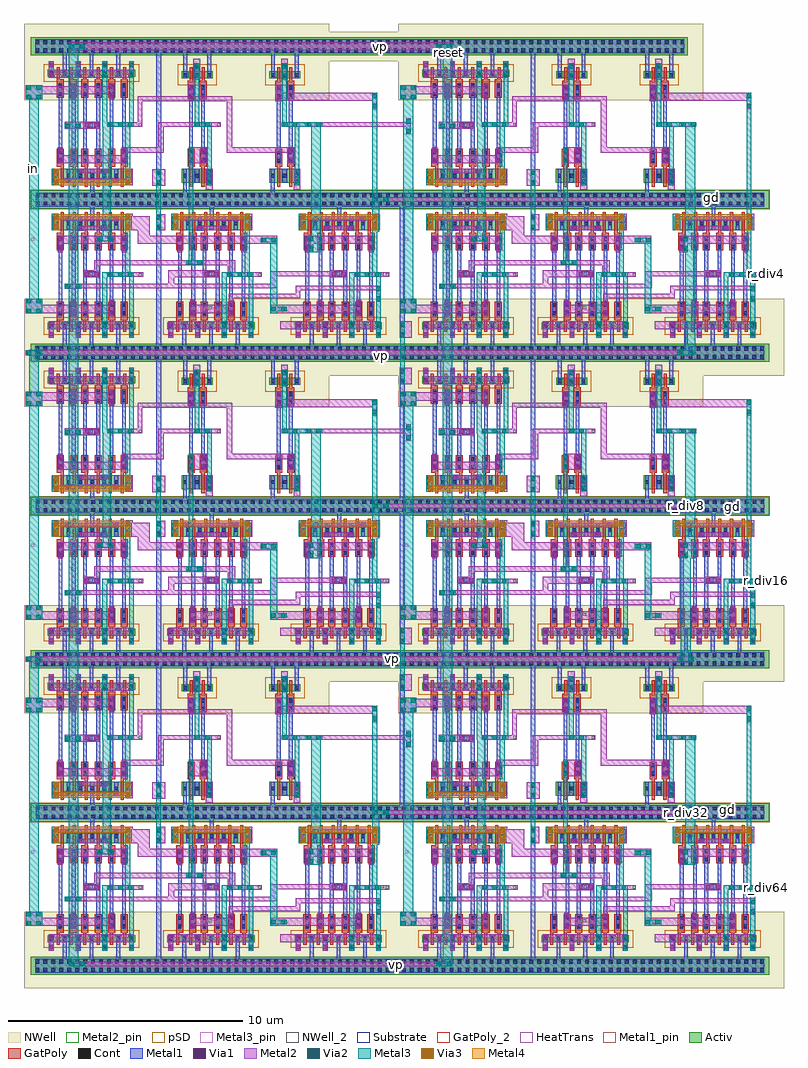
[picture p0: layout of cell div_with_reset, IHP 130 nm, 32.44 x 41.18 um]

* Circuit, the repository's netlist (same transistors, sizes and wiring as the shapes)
** sch_path: /foss/designs/CHIP-PLL/schematics/divider/schematics/div_with_reset.sch
.subckt div_with_reset gd vp in reset r_div2 r_div4 r_div8 r_div16 r_div32 r_div64
*.PININFO gd:B in:I vp:B r_div2:O r_div4:O r_div8:O r_div16:O r_div32:O r_div64:O reset:I
x1 net1 vp gd r_div4 net2 r_div4 reset d_flip_flop_reset
x2 net2 vp gd r_div2 in r_div2 reset d_flip_flop_reset
x3 net6 vp gd r_div64 net5 r_div64 reset d_flip_flop_reset
x4 net5 vp gd r_div32 net4 r_div32 reset d_flip_flop_reset
x5 net4 vp gd r_div16 net3 r_div16 reset d_flip_flop_reset
x6 net3 vp gd r_div8 net1 r_div8 reset d_flip_flop_reset
* noconn #net6
.ends

* expanding   symbol:  /foss/designs/CHIP-PLL/schematics/divider/schematics/d_flip_flop_reset.sym # of pins=7
** sym_path: /foss/designs/CHIP-PLL/schematics/divider/schematics/d_flip_flop_reset.sym
** sch_path: /foss/designs/CHIP-PLL/schematics/divider/schematics/d_flip_flop_reset.sch
.subckt d_flip_flop_reset q VP GND q_ clk d reset
*.PININFO GND:B clk:I VP:B d:I q:O q_:O reset:I
x2 VP GND q q_ net3 reset NAND_3in_x3
x5 VP GND net3 net4 d reset NAND_3in_x3
x6 VP GND net2 net1 clk reset NAND_3in_x3
x4 VP GND net1 q q_ NAND_2in_x2
x3 VP GND net4 net2 net1 NAND_2in_x2
x1 VP GND net1 net3 clk net4 NAND_3in_x3
.ends


* expanding   symbol:  /foss/designs/CHIP-PLL/schematics/divider/schematics/NAND_3in_x3.sym # of pins=6
** sym_path: /foss/designs/CHIP-PLL/schematics/divider/schematics/NAND_3in_x3.sym
** sch_path: /foss/designs/CHIP-PLL/schematics/divider/schematics/NAND_3in_x3.sch
.subckt NAND_3in_x3 VP GND a y b c
*.PININFO y:O GND:B a:I VP:B b:I c:I
MM1 y a net2 GND sg13_lv_nmos w=1.20u l=0.13u ng=1
MM5 y b VP VP sg13_lv_pmos w=0.3u l=0.13u ng=1
MM3 net2 b net1 GND sg13_lv_nmos w=1.20u l=0.13u ng=1
MM4 net1 c GND GND sg13_lv_nmos w=1.20u l=0.13u ng=1
MM2 y a VP VP sg13_lv_pmos w=0.3u l=0.13u ng=1
MM6 y c VP VP sg13_lv_pmos w=0.3u l=0.13u ng=1
.ends


* expanding   symbol:  /foss/designs/CHIP-PLL/schematics/divider/schematics/NAND_2in_x2.sym # of pins=5
** sym_path: /foss/designs/CHIP-PLL/schematics/divider/schematics/NAND_2in_x2.sym
** sch_path: /foss/designs/CHIP-PLL/schematics/divider/schematics/NAND_2in_x2.sch
.subckt NAND_2in_x2 VP GND a y b
*.PININFO y:O GND:B a:I VP:B b:I
MM1 y a net1 GND sg13_lv_nmos w=0.6u l=0.13u ng=1
MM2 y b VP VP sg13_lv_pmos w=0.3u l=0.13u ng=1
MM3 net1 b GND GND sg13_lv_nmos w=0.6u l=0.13u ng=1
MM4 y a VP VP sg13_lv_pmos w=0.3u l=0.13u ng=1
.ends

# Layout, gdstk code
from math import pi, radians
import gdstk
lib = gdstk.Library(unit=1e-6, precision=1e-09)
def R(c, l, rs):  # rectangles x0, y0, x1, y1
    for r in rs: c.add(gdstk.rectangle(r[:2], r[2:], *l))
def A(c, l, x, y, w, h, nx, ny, dx, dy):  # array of equal rectangles
    R(c, l, [(x+i*dx, y+j*dy, x+i*dx+w, y+j*dy+h) for i in range(nx) for j in range(ny)])
Activ = (1, 0)
GatPoly = (5, 0)
GatPoly_2 = (5, 2)
Cont = (6, 0)
Metal1 = (8, 0)
Metal1_pin = (8, 2)
Metal2 = (10, 0)
Metal2_pin = (10, 2)
pSD = (14, 0)
Via1 = (19, 0)
Via2 = (29, 0)
Metal3 = (30, 0)
Metal3_pin = (30, 2)
NWell = (31, 0)
NWell_2 = (31, 2)
Substrate = (40, 0)
Via3 = (49, 0)
Metal4 = (50, 0)
HeatTrans = (51, 0)

ntap1 = lib.new_cell('ntap1')
R(ntap1, Activ, [(0,0,7.8,0.78)])
A(ntap1, Cont, 0.08, 0.14, 0.16, 0.16, 23, 2, 0.34, 0.34)
R(ntap1, Metal1, [(0.08,0.09,7.72,0.69)])
R(ntap1, Metal1_pin, [(0.08,0.09,7.72,0.69), (0.08,0.14,7.72,0.64)])
R(ntap1, NWell, [(-0.24,-0.24,8.04,1.02), (0,0,7.8,0.78)])
R(ntap1, NWell_2, [(0,0,7.8,0.78)])
ntap1.add(gdstk.Label('well', (3.9,0.01), layer=63, texttype=0))
ntap1.add(gdstk.Label('well', (3.9,0.01), layer=31, texttype=0))

ptap1 = lib.new_cell('ptap1')
R(ptap1, Activ, [(0,0,7.8,0.78)])
A(ptap1, Cont, 0.08, 0.14, 0.16, 0.16, 23, 2, 0.34, 0.34)
R(ptap1, Metal1, [(0.08,0.09,7.72,0.69), (0.08,0.14,7.72,0.64)])
R(ptap1, Metal1_pin, [(0.08,0.14,7.72,0.64)])
R(ptap1, pSD, [(-0.03,-0.03,7.83,0.81)])
R(ptap1, Substrate, [(0,0,7.8,0.78)])
ptap1.add(gdstk.Label('sub!', (3.9,0.01), layer=63, texttype=0))
ptap1.add(gdstk.Label('sub!', (3.9,0.01), layer=40, texttype=0))

ptap1_7 = lib.new_cell('ptap1$7')
R(ptap1_7, Activ, [(0,0,1.7,0.78)])
A(ptap1_7, Cont, 0.09, 0.14, 0.16, 0.16, 5, 2, 0.34, 0.34)
R(ptap1_7, Metal1, [(0.09,0.09,1.61,0.69), (0.09,0.14,1.61,0.64)])
R(ptap1_7, Metal1_pin, [(0.09,0.14,1.61,0.64)])
R(ptap1_7, pSD, [(-0.03,-0.03,1.73,0.81)])
R(ptap1_7, Substrate, [(0,0,1.7,0.78)])
ptap1_7.add(gdstk.Label('sub!', (0.85,0.01), layer=63, texttype=0))
ptap1_7.add(gdstk.Label('sub!', (0.85,0.01), layer=40, texttype=0))

ntap1_2_2 = lib.new_cell('ntap1$2$2')
R(ntap1_2_2, Activ, [(0,0,1.7,0.78)])
A(ntap1_2_2, Cont, 0.09, 0.14, 0.16, 0.16, 5, 2, 0.34, 0.34)
R(ntap1_2_2, Metal1, [(0.09,0.09,1.61,0.69)])
R(ntap1_2_2, Metal1_pin, [(0.09,0.09,1.61,0.69), (0.09,0.14,1.61,0.64)])
R(ntap1_2_2, NWell, [(-0.24,-0.24,1.94,1.02), (0,0,1.7,0.78)])
R(ntap1_2_2, NWell_2, [(0,0,1.7,0.78)])
ntap1_2_2.add(gdstk.Label('well', (0.85,0.01), layer=63, texttype=0))
ntap1_2_2.add(gdstk.Label('well', (0.85,0.01), layer=31, texttype=0))

ntap1_10 = lib.new_cell('ntap1$10')
R(ntap1_10, Activ, [(0,0,2.4,0.78)])
A(ntap1_10, Cont, 0.1, 0.14, 0.16, 0.16, 7, 2, 0.34, 0.34)
R(ntap1_10, Metal1, [(0.1,0.09,2.3,0.69)])
R(ntap1_10, Metal1_pin, [(0.1,0.09,2.3,0.69), (0.1,0.14,2.3,0.64)])
R(ntap1_10, NWell, [(-0.24,-0.24,2.64,1.02), (0,0,2.4,0.78)])
R(ntap1_10, NWell_2, [(0,0,2.4,0.78)])
ntap1_10.add(gdstk.Label('well', (1.2,0.01), layer=63, texttype=0))
ntap1_10.add(gdstk.Label('well', (1.2,0.01), layer=31, texttype=0))

ntap1_4_2 = lib.new_cell('ntap1$4$2')
R(ntap1_4_2, Activ, [(0,0,2.2,0.78)])
A(ntap1_4_2, Cont, 0.17, 0.14, 0.16, 0.16, 6, 2, 0.34, 0.34)
R(ntap1_4_2, Metal1, [(0.17,0.09,2.03,0.69)])
R(ntap1_4_2, Metal1_pin, [(0.17,0.09,2.03,0.69), (0.17,0.14,2.03,0.64)])
R(ntap1_4_2, NWell, [(-0.24,-0.24,2.44,1.02), (0,0,2.2,0.78)])
R(ntap1_4_2, NWell_2, [(0,0,2.2,0.78)])
ntap1_4_2.add(gdstk.Label('well', (1.1,0.01), layer=63, texttype=0))
ntap1_4_2.add(gdstk.Label('well', (1.1,0.01), layer=31, texttype=0))

via_13 = lib.new_cell('Via$13')
R(via_13, Metal2, [(-0.35,-0.1,0.35,0.1)])
R(via_13, Via2, [(-0.3,-0.095,-0.11,0.095), (0.11,-0.095,0.3,0.095)])
R(via_13, Metal3, [(-0.35,-0.1,0.35,0.1)])

via_1_7 = lib.new_cell('Via$1$7')
R(via_1_7, Metal2, [(-0.35,-0.305,0.35,0.305)])
R(via_1_7, Via2, [(-0.3,-0.3,-0.11,-0.11), (0.11,-0.3,0.3,-0.11), (-0.3,0.11,-0.11,0.3), (0.11,0.11,0.3,0.3)])
R(via_1_7, Metal3, [(-0.35,-0.305,0.35,0.305)])

via_9_2 = lib.new_cell('Via$9$2')
R(via_9_2, Metal2, [(-0.1,-0.35,0.1,0.35)])
R(via_9_2, Via2, [(-0.095,-0.3,0.095,-0.11), (-0.095,0.11,0.095,0.3)])
R(via_9_2, Metal3, [(-0.1,-0.35,0.1,0.35)])

via_6_2 = lib.new_cell('Via$6$2')
R(via_6_2, Metal1, [(-0.105,-0.35,0.105,0.35)])
R(via_6_2, Metal2, [(-0.1,-0.35,0.1,0.35)])
R(via_6_2, Via1, [(-0.095,-0.3,0.095,-0.11), (-0.095,0.11,0.095,0.3)])

via_1_4_2 = lib.new_cell('Via$1$4$2')
R(via_1_4_2, Metal2, [(-0.1,-0.555,0.1,0.555)])
A(via_1_4_2, Via2, -0.095, -0.505, 0.19, 0.19, 1, 3, 0, 0.41)
R(via_1_4_2, Metal3, [(-0.1,-0.555,0.1,0.555)])

nmos_2_2 = lib.new_cell('nmos$2$2')
A(nmos_2_2, Activ, 0, 0, 0.3, 0.3, 7, 1, 0.51, 0)
R(nmos_2_2, Activ, [(0,0,3.36,0.6)])
A(nmos_2_2, GatPoly, 0.34, -0.18, 0.13, 0.96, 6, 1, 0.51, 0)
R(nmos_2_2, GatPoly_2, [(0.34,-0.18,0.47,0.78)])
A(nmos_2_2, Cont, 0.07, 0.22, 0.16, 0.16, 7, 1, 0.51, 0)
A(nmos_2_2, Metal1, 0.07, 0, 0.16, 0.6, 7, 1, 0.51, 0)
R(nmos_2_2, Metal1_pin, [(0.07,0,0.23,0.6), (0.58,0,0.74,0.6)])
A(nmos_2_2, HeatTrans, 0.34, -0.18, 0.13, 0.96, 6, 1, 0.51, 0)
nmos_2_2.add(gdstk.Label('nmos', (0.405,0.3), layer=63, texttype=0))
nmos_2_2.add(gdstk.Label('nmos', (0.405,0.3), layer=51, texttype=0))
nmos_2_2.add(gdstk.Label('nmos', (0.915,0.3), layer=51, texttype=0))
nmos_2_2.add(gdstk.Label('nmos', (1.425,0.3), layer=51, texttype=0))
nmos_2_2.add(gdstk.Label('nmos', (1.935,0.3), layer=51, texttype=0))
nmos_2_2.add(gdstk.Label('nmos', (2.445,0.3), layer=51, texttype=0))
nmos_2_2.add(gdstk.Label('nmos', (2.955,0.3), layer=51, texttype=0))

ntap1_6_2 = lib.new_cell('ntap1$6$2')
R(ntap1_6_2, Activ, [(0,0,5,0.78)])
A(ntap1_6_2, Cont, 0.21, 0.14, 0.16, 0.16, 14, 2, 0.34, 0.34)
R(ntap1_6_2, Metal1, [(0.21,0.09,4.79,0.69)])
R(ntap1_6_2, Metal1_pin, [(0.21,0.09,4.79,0.69), (0.21,0.14,4.79,0.64)])
R(ntap1_6_2, NWell, [(-0.24,-0.24,5.24,1.02), (0,0,5,0.78)])
R(ntap1_6_2, NWell_2, [(0,0,5,0.78)])
ntap1_6_2.add(gdstk.Label('well', (2.5,0.01), layer=63, texttype=0))
ntap1_6_2.add(gdstk.Label('well', (2.5,0.01), layer=31, texttype=0))

ptap1_2_2 = lib.new_cell('ptap1$2$2')
R(ptap1_2_2, Activ, [(0,0,5,0.78)])
A(ptap1_2_2, Cont, 0.21, 0.14, 0.16, 0.16, 14, 2, 0.34, 0.34)
R(ptap1_2_2, Metal1, [(0.21,0.09,4.79,0.69), (0.21,0.14,4.79,0.64)])
R(ptap1_2_2, Metal1_pin, [(0.21,0.14,4.79,0.64)])
R(ptap1_2_2, pSD, [(-0.03,-0.03,5.03,0.81)])
R(ptap1_2_2, Substrate, [(0,0,5,0.78)])
ptap1_2_2.add(gdstk.Label('sub!', (2.5,0.01), layer=63, texttype=0))
ptap1_2_2.add(gdstk.Label('sub!', (2.5,0.01), layer=40, texttype=0))

via_4_1_2 = lib.new_cell('Via$4$1$2')
R(via_4_1_2, Metal3, [(-0.1,-0.35,0.1,0.35)])
R(via_4_1_2, Via3, [(-0.095,-0.3,0.095,-0.11), (-0.095,0.11,0.095,0.3)])
R(via_4_1_2, Metal4, [(-0.1,-0.35,0.1,0.35)])

via_2_4_2 = lib.new_cell('Via$2$4$2')
R(via_2_4_2, Metal2, [(-0.1,-0.35,0.1,0.35)])
R(via_2_4_2, Via2, [(-0.095,-0.3,0.095,-0.11), (-0.095,0.11,0.095,0.3)])
R(via_2_4_2, Metal3, [(-0.1,-0.35,0.1,0.35)])

via_3_1_2 = lib.new_cell('Via$3$1$2')
R(via_3_1_2, GatPoly, [(-0.32,-0.15,0.32,0.15)])
R(via_3_1_2, Cont, [(-0.25,-0.08,-0.09,0.08), (0.09,-0.08,0.25,0.08)])
R(via_3_1_2, Metal1, [(-0.3,-0.08,0.3,0.08)])

pmos_2_2 = lib.new_cell('pmos$2$2')
A(pmos_2_2, Activ, 0, 0, 0.3, 0.3, 7, 1, 0.57, 0)
R(pmos_2_2, Activ, [(0,0.075,3.72,0.225)])
A(pmos_2_2, GatPoly, 0.37, -0.105, 0.13, 0.51, 6, 1, 0.57, 0)
R(pmos_2_2, GatPoly, [(0.37,-0.105,0.5,0.405)])
A(pmos_2_2, Cont, 0.07, 0.07, 0.16, 0.16, 7, 1, 0.57, 0)
A(pmos_2_2, Metal1, 0.64, 0.02, 0.16, 0.26, 6, 1, 0.57, 0)
R(pmos_2_2, Metal1, [(0.07,0.02,0.23,0.28), (0.07,0.02,0.23,0.28), (0.64,0.02,0.8,0.28)])
R(pmos_2_2, pSD, [(-0.18,-0.225,3.9,0.525)])
R(pmos_2_2, NWell, [(-0.31,-0.31,4.03,0.61)])
A(pmos_2_2, HeatTrans, 0.37, -0.105, 0.13, 0.51, 6, 1, 0.57, 0)
pmos_2_2.add(gdstk.Label('pmos', (0.435,0.15), layer=63, texttype=0))
pmos_2_2.add(gdstk.Label('pmos', (0.435,0.15), layer=51, texttype=0))
pmos_2_2.add(gdstk.Label('pmos', (1.005,0.15), layer=51, texttype=0))
pmos_2_2.add(gdstk.Label('pmos', (1.575,0.15), layer=51, texttype=0))
pmos_2_2.add(gdstk.Label('pmos', (2.145,0.15), layer=51, texttype=0))
pmos_2_2.add(gdstk.Label('pmos', (2.715,0.15), layer=51, texttype=0))
pmos_2_2.add(gdstk.Label('pmos', (3.285,0.15), layer=51, texttype=0))

via_5_2 = lib.new_cell('Via$5$2')
R(via_5_2, Metal1, [(-0.145,-0.105,0.145,0.105)])
R(via_5_2, Metal2, [(-0.145,-0.1,0.145,0.1)])
R(via_5_2, Via1, [(-0.095,-0.095,0.095,0.095)])

nand_3in_x3_2 = lib.new_cell('NAND_3in_x3$2')
A(nand_3in_x3_2, GatPoly, -0.54, -2.93, 0.3, 0.11, 3, 1, 0.57, 0)
A(nand_3in_x3_2, GatPoly, -0.54, 0.655, 0.3, 0.15, 3, 1, 0.57, 0)
R(nand_3in_x3_2, GatPoly, [(-1.585,-2.93,-1.285,-2.82), (-1.02,-2.93,-0.72,-2.82), (1.135,-2.93,1.435,-2.82), (-1.6,0.655,-1.3,0.805), (-1.035,0.655,-0.735,0.805), (1.13,0.655,1.43,0.805), (0.68,0.755,0.81,0.845), (1.22,0.755,1.35,0.845)])
R(nand_3in_x3_2, Metal1, [(-0.155,-4.075,0.005,-3.295), (-1.515,-2.44,-1.355,0.56), (-0.95,-2.44,-0.79,0.05), (0.67,-2.44,0.83,0.05), (-0.47,-2.38,-0.31,0.175), (0.1,-2.38,0.26,0.245), (1.2,-2.21,1.36,-1.27), (1.2,-1.31,1.36,-0.37), (1.2,-0.455,1.36,0.075), (0.95,1.005,1.11,2.015), (-1.33,1.07,-1.17,2.065), (-0.19,1.075,-0.03,2.065)])
R(nand_3in_x3_2, Metal1_pin, [(0.44,-4.33,0.57,-4.2), (0.74,2.225,0.87,2.355)])
R(nand_3in_x3_2, Metal2, [(-1.81,-3.73,-1.7,-3.02), (1.54,-3.73,1.65,-3.02), (-1.005,-3.635,1.015,-3.435), (-0.53,-3.22,0.43,-3.02), (-1.475,-2.795,1.395,-2.445), (-0.45,-1.315,0.25,-1.015), (1.62,-1.24,2.05,-1.04), (-0.895,0.155,0.83,0.505), (-1.925,0.855,1.7,1.205)])
R(nand_3in_x3_2, Metal2_pin, [(1.225,-2.31,1.355,-2.18), (-0.175,-1.235,-0.045,-1.105), (1.905,-1.205,2.035,-1.075), (0.69,0.005,0.82,0.135), (0.69,0.005,0.82,0.135)])
R(nand_3in_x3_2, Metal3, [(-1.81,-3.73,-1.71,-3.02), (1.34,-3.03,1.54,-2.83), (1.34,-2.83,1.54,-2.425), (1.34,-2.5,1.54,-1.15), (0.36,-1.24,0.56,-0.97), (0.38,-1.24,0.565,-1.04), (1.66,-1.24,1.7,-1.09), (1.5,-1.09,1.7,0.17), (0.36,-0.97,0.56,0.26), (1.5,0.045,1.7,1.02), (0.36,0.155,0.56,0.855)])
R(nand_3in_x3_2, NWell, [(-2.99,-0.1,2.93,3.17)])
R(nand_3in_x3_2, Metal4, [(-1.7,-3.72,1.54,-3.47)])
nand_3in_x3_2.add(gdstk.Reference(via_6_2, (1.285,-2.45), rotation=pi))
nand_3in_x3_2.add(gdstk.Reference(via_6_2, (0.75,0.285), rotation=pi))
nand_3in_x3_2.add(gdstk.Reference(via_6_2, (0.46,1.205), rotation=pi))
nand_3in_x3_2.add(gdstk.Reference(via_6_2, (1.6,1.205), rotation=pi))
nand_3in_x3_2.add(gdstk.Reference(via_1_4_2, (1.12,-1.14), rotation=3*pi/2))
nand_3in_x3_2.add(gdstk.Reference(nmos_2_2, (1.605,-3.02), rotation=pi))
nand_3in_x3_2.add(gdstk.Reference(ntap1_6_2, (-2.71,1.81)))
nand_3in_x3_2.add(gdstk.Reference(ptap1_2_2, (-2.7,-4.73)))
nand_3in_x3_2.add(gdstk.Reference(via_4_1_2, (1.44,-3.37), rotation=pi))
nand_3in_x3_2.add(gdstk.Reference(via_2_4_2, (0.46,1.205), rotation=pi))
nand_3in_x3_2.add(gdstk.Reference(via_2_4_2, (1.6,1.205), rotation=pi))
nand_3in_x3_2.add(gdstk.Reference(via_3_1_2, (0.75,-2.5), rotation=3*pi/2))
nand_3in_x3_2.add(gdstk.Reference(via_3_1_2, (1.285,-2.5), rotation=3*pi/2))
nand_3in_x3_2.add(gdstk.Reference(via_3_1_2, (0.75,0.335), rotation=3*pi/2))
nand_3in_x3_2.add(gdstk.Reference(via_3_1_2, (1.28,0.335), rotation=3*pi/2))
nand_3in_x3_2.add(gdstk.Reference(pmos_2_2, (1.75,1.205), rotation=pi))
nand_3in_x3_2.add(gdstk.Reference(via_3_1_2, (0.18,0.335), rotation=3*pi/2))
nand_3in_x3_2.add(gdstk.Reference(via_3_1_2, (0.18,-2.5), rotation=3*pi/2))
nand_3in_x3_2.add(gdstk.Reference(via_3_1_2, (-0.39,0.335), rotation=3*pi/2))
nand_3in_x3_2.add(gdstk.Reference(via_3_1_2, (-0.39,-2.5), rotation=3*pi/2))
nand_3in_x3_2.add(gdstk.Reference(via_6_2, (-0.1,-1.165), rotation=3*pi/2))
nand_3in_x3_2.add(gdstk.Reference(via_6_2, (-0.68,1.205), rotation=pi))
nand_3in_x3_2.add(gdstk.Reference(via_6_2, (-1.825,1.205), rotation=pi))
nand_3in_x3_2.add(gdstk.Reference(via_6_2, (0.75,0.285), rotation=pi))
nand_3in_x3_2.add(gdstk.Reference(via_3_1_2, (0.75,0.335), rotation=3*pi/2))
nand_3in_x3_2.add(gdstk.Reference(via_3_1_2, (-0.885,0.335), rotation=3*pi/2))
nand_3in_x3_2.add(gdstk.Reference(via_6_2, (-0.895,0.285), rotation=pi))
nand_3in_x3_2.add(gdstk.Reference(via_3_1_2, (-0.885,0.335), rotation=3*pi/2))
nand_3in_x3_2.add(gdstk.Reference(via_6_2, (-0.895,0.285), rotation=pi))
nand_3in_x3_2.add(gdstk.Reference(via_3_1_2, (-0.87,-2.5), rotation=3*pi/2))
nand_3in_x3_2.add(gdstk.Reference(via_6_2, (-1.435,-2.45), rotation=pi))
nand_3in_x3_2.add(gdstk.Reference(via_3_1_2, (-1.435,-2.5), rotation=3*pi/2))
nand_3in_x3_2.add(gdstk.Reference(via_3_1_2, (-1.45,0.335), rotation=3*pi/2))
nand_3in_x3_2.add(gdstk.Reference(via_6_2, (-1.61,-3.37), rotation=pi))
nand_3in_x3_2.add(gdstk.Reference(via_2_4_2, (1.445,-3.38), rotation=pi))
nand_3in_x3_2.add(gdstk.Reference(via_2_4_2, (-1.61,-3.38), rotation=pi))
nand_3in_x3_2.add(gdstk.Reference(via_4_1_2, (-1.61,-3.37), rotation=pi))
nand_3in_x3_2.add(gdstk.Reference(via_6_2, (1.445,-3.37), rotation=pi))
nand_3in_x3_2.add(gdstk.Reference(via_5_2, (-0.59,-3.12)))
nand_3in_x3_2.add(gdstk.Reference(via_5_2, (0.43,-3.12)))
nand_3in_x3_2.add(gdstk.Reference(via_5_2, (-1.095,-3.535)))
nand_3in_x3_2.add(gdstk.Reference(via_5_2, (0.935,-3.535)))
nand_3in_x3_2.add(gdstk.Label('GND', (0.505,-4.26), layer=8, texttype=25))
nand_3in_x3_2.add(gdstk.Label('VP', (0.8,2.285), layer=8, texttype=25))
nand_3in_x3_2.add(gdstk.Label('a', (1.285,-2.25), layer=10, texttype=25))
nand_3in_x3_2.add(gdstk.Label('b', (0.76,0.095), layer=10, texttype=25))
nand_3in_x3_2.add(gdstk.Label('b', (0.76,0.095), layer=10, texttype=25))
nand_3in_x3_2.add(gdstk.Label('c', (-0.11,-1.175), layer=10, texttype=25))
nand_3in_x3_2.add(gdstk.Label('y', (1.97,-1.14), layer=10, texttype=25))

via_8_2 = lib.new_cell('Via$8$2')
R(via_8_2, Metal1, [(-0.105,-0.35,0.105,0.35)])
R(via_8_2, Metal2, [(-0.1,-0.35,0.1,0.35)])
R(via_8_2, Via1, [(-0.095,-0.3,0.095,-0.11), (-0.095,0.11,0.095,0.3)])

ntap1_7_2 = lib.new_cell('ntap1$7$2')
R(ntap1_7_2, Activ, [(0,0,2.5,0.78)])
A(ntap1_7_2, Cont, 0.15, 0.14, 0.16, 0.16, 7, 2, 0.34, 0.34)
R(ntap1_7_2, Metal1, [(0.15,0.09,2.35,0.69)])
R(ntap1_7_2, Metal1_pin, [(0.15,0.09,2.35,0.69), (0.15,0.14,2.35,0.64)])
R(ntap1_7_2, NWell, [(-0.24,-0.24,2.74,1.02), (0,0,2.5,0.78)])
R(ntap1_7_2, NWell_2, [(0,0,2.5,0.78)])
ntap1_7_2.add(gdstk.Label('well', (1.25,0.01), layer=63, texttype=0))
ntap1_7_2.add(gdstk.Label('well', (1.25,0.01), layer=31, texttype=0))

ptap1_3_2 = lib.new_cell('ptap1$3$2')
R(ptap1_3_2, Activ, [(0,0,2.5,0.78)])
A(ptap1_3_2, Cont, 0.15, 0.14, 0.16, 0.16, 7, 2, 0.34, 0.34)
R(ptap1_3_2, Metal1, [(0.15,0.09,2.35,0.69), (0.15,0.14,2.35,0.64)])
R(ptap1_3_2, Metal1_pin, [(0.15,0.14,2.35,0.64)])
R(ptap1_3_2, pSD, [(-0.03,-0.03,2.53,0.81)])
R(ptap1_3_2, Substrate, [(0,0,2.5,0.78)])
ptap1_3_2.add(gdstk.Label('sub!', (1.25,0.01), layer=63, texttype=0))
ptap1_3_2.add(gdstk.Label('sub!', (1.25,0.01), layer=40, texttype=0))

via_10_2 = lib.new_cell('Via$10$2')
R(via_10_2, Metal2, [(-0.1,-0.35,0.1,0.35)])
R(via_10_2, Via2, [(-0.095,-0.3,0.095,-0.11), (-0.095,0.11,0.095,0.3)])
R(via_10_2, Metal3, [(-0.1,-0.35,0.1,0.35)])

via_1_5_2 = lib.new_cell('Via$1$5$2')
R(via_1_5_2, Metal1, [(-0.105,-0.35,0.105,0.35)])
R(via_1_5_2, Metal2, [(-0.1,-0.35,0.1,0.35)])
R(via_1_5_2, Via1, [(-0.095,-0.3,0.095,-0.11), (-0.095,0.11,0.095,0.3)])

via_2_6 = lib.new_cell('Via$2$6')
R(via_2_6, GatPoly, [(-0.32,-0.15,0.32,0.15)])
R(via_2_6, Cont, [(-0.25,-0.08,-0.09,0.08), (0.09,-0.08,0.25,0.08)])
R(via_2_6, Metal1, [(-0.3,-0.08,0.3,0.08)])

pmos_3 = lib.new_cell('pmos$3')
A(pmos_3, Activ, 0, 0, 0.3, 0.3, 3, 1, 0.51, 0)
R(pmos_3, Activ, [(0,0,1.32,0.3)])
R(pmos_3, GatPoly, [(0.34,-0.18,0.47,0.48), (0.34,-0.18,0.47,0.48), (0.85,-0.18,0.98,0.48)])
A(pmos_3, Cont, 0.07, 0.07, 0.16, 0.16, 3, 1, 0.51, 0)
R(pmos_3, Metal1, [(0.07,0,0.23,0.3), (0.07,0,0.23,0.3), (0.58,0,0.74,0.3), (0.58,0,0.74,0.3), (1.09,0,1.25,0.3)])
R(pmos_3, pSD, [(-0.18,-0.3,1.5,0.6)])
R(pmos_3, NWell, [(-0.31,-0.31,1.63,0.61)])
R(pmos_3, Substrate, [(1.02,0,1.32,0.3)])
R(pmos_3, HeatTrans, [(0.34,-0.18,0.47,0.48), (0.85,-0.18,0.98,0.48)])
pmos_3.add(gdstk.Label('pmos', (0.405,0.15), layer=63, texttype=0))
pmos_3.add(gdstk.Label('pmos', (0.405,0.15), layer=51, texttype=0))
pmos_3.add(gdstk.Label('pmos', (0.915,0.15), layer=51, texttype=0))

nmos_3 = lib.new_cell('nmos$3')
A(nmos_3, Activ, 0, 0, 0.3, 0.3, 3, 1, 0.51, 0)
R(nmos_3, Activ, [(0,0,1.32,0.6)])
R(nmos_3, GatPoly, [(0.34,-0.18,0.47,0.78), (0.85,-0.18,0.98,0.78)])
R(nmos_3, GatPoly_2, [(0.34,-0.18,0.47,0.78)])
A(nmos_3, Cont, 0.07, 0.22, 0.16, 0.16, 3, 1, 0.51, 0)
A(nmos_3, Metal1, 0.07, 0, 0.16, 0.6, 3, 1, 0.51, 0)
R(nmos_3, Metal1_pin, [(0.07,0,0.23,0.6), (0.58,0,0.74,0.6)])
R(nmos_3, HeatTrans, [(0.34,-0.18,0.47,0.78), (0.85,-0.18,0.98,0.78)])
nmos_3.add(gdstk.Label('nmos', (0.405,0.3), layer=63, texttype=0))
nmos_3.add(gdstk.Label('nmos', (0.405,0.3), layer=51, texttype=0))
nmos_3.add(gdstk.Label('nmos', (0.915,0.3), layer=51, texttype=0))

nand_2in_x2_2 = lib.new_cell('NAND_2in_x2$2')
R(nand_2in_x2_2, GatPoly, [(0.63,-2.93,0.93,-2.82), (1.15,-2.93,1.45,-2.82), (0.645,0.58,0.945,0.73), (1.145,0.58,1.445,0.73), (0.725,0.68,0.855,0.77)])
R(nand_2in_x2_2, Metal1, [(0.445,-4.32,0.605,-3.295), (0.915,-3.6,1.155,-3.34), (0.915,-3.36,1.155,-3.02), (0.7,-2.68,0.86,0.26), (1.215,-2.21,1.375,-1.27), (1.215,-1.31,1.375,-0.37), (1.215,-0.37,1.375,-0.01), (0.455,1.01,0.615,1.15), (0.455,1.115,0.615,1.99), (1.475,1.115,1.635,1.94)])
R(nand_2in_x2_2, Metal1_pin, [(0.44,-4.32,0.57,-4.19), (0.4,2.15,0.53,2.28)])
R(nand_2in_x2_2, Metal2, [(1.415,-3.92,1.705,-3.72), (1.415,-3.72,1.705,-3.02), (1.15,-2.8,1.45,-2.1), (1.62,-1.24,2.05,-1.04), (0.645,-0.14,0.945,0.56), (0.88,0.78,1.17,0.98), (0.88,0.98,1.17,1.68)])
R(nand_2in_x2_2, Metal2_pin, [(1.24,-2.27,1.37,-2.14), (1.905,-1.205,2.035,-1.075), (0.735,-0.1,0.865,0.03)])
R(nand_2in_x2_2, Metal3, [(1.465,-3.03,1.665,-2.83), (1.465,-2.905,1.665,-1.045), (0.93,-1.09,1.13,0.17), (0.93,0.1,1.13,0.62), (0.93,0.62,1.13,0.72), (0.93,0.71,1.13,0.87)])
R(nand_2in_x2_2, NWell, [(-0.85,-0.1,2.93,3.17)])
nand_2in_x2_2.add(gdstk.Reference(ntap1_7_2, (-0.23,1.81)))
nand_2in_x2_2.add(gdstk.Reference(ptap1_3_2, (-0.22,-4.73)))
nand_2in_x2_2.add(gdstk.Reference(via_10_2, (1.27,-1.14), rotation=3*pi/2))
nand_2in_x2_2.add(gdstk.Reference(via_1_5_2, (1.565,-3.37), rotation=pi))
nand_2in_x2_2.add(gdstk.Reference(via_1_5_2, (1.3,-2.45), rotation=pi))
nand_2in_x2_2.add(gdstk.Reference(via_1_5_2, (0.795,0.21), rotation=pi))
nand_2in_x2_2.add(gdstk.Reference(via_1_5_2, (1.03,1.13), rotation=pi))
nand_2in_x2_2.add(gdstk.Reference(via_2_6, (1.3,-2.5), rotation=3*pi/2))
nand_2in_x2_2.add(gdstk.Reference(via_2_6, (0.795,0.26), rotation=3*pi/2))
nand_2in_x2_2.add(gdstk.Reference(via_2_6, (1.295,0.26), rotation=3*pi/2))
nand_2in_x2_2.add(gdstk.Reference(via_10_2, (1.565,-3.37), rotation=pi))
nand_2in_x2_2.add(gdstk.Reference(via_10_2, (1.03,1.13), rotation=pi))
nand_2in_x2_2.add(gdstk.Reference(pmos_3, (1.705,1.13), rotation=pi))
nand_2in_x2_2.add(gdstk.Reference(via_2_6, (0.78,-2.5), rotation=3*pi/2))
nand_2in_x2_2.add(gdstk.Reference(nmos_3, (1.695,-3.02), rotation=pi))
nand_2in_x2_2.add(gdstk.Label('GND', (0.505,-4.25), layer=8, texttype=25))
nand_2in_x2_2.add(gdstk.Label('VP', (0.46,2.21), layer=8, texttype=25))
nand_2in_x2_2.add(gdstk.Label('b', (0.795,-0.04), layer=10, texttype=25))
nand_2in_x2_2.add(gdstk.Label('a', (1.3,-2.21), layer=10, texttype=25))
nand_2in_x2_2.add(gdstk.Label('y', (1.97,-1.14), layer=10, texttype=25))

d_flip_flop_reset = lib.new_cell('d_flip_flop_reset')
R(d_flip_flop_reset, Metal1, [(1.34,-7.79,1.55,-2.647), (1.34,-0.07,1.55,5.11)])
R(d_flip_flop_reset, Metal1_pin, [(4.345,-7.965,4.475,-7.835), (-0.13,-7.955,0,-7.825), (0.19,-1.45,0.32,-1.32), (-0.775,5.135,-0.645,5.265)])
R(d_flip_flop_reset, Metal2, [(6.64,-6.885,7.635,-6.535), (-3.98,-6.185,-1.905,-5.835), (6.215,-6.185,8.6,-5.835), (-2.47,-5.135,2.105,-4.935), (1.865,-5.135,2.105,-4.585), (2,-5.135,6.515,-4.935), (6.21,-5.135,6.515,-4.52), (1.865,-4.665,3.56,-4.365), (0.62,-4.64,0.8,-4.44), (4.405,-4.64,4.725,-4.025), (6.21,-4.61,9.48,-4.41), (-1.3,-4.51,-1.06,-3.96), (-1.3,-4.15,4.725,-3.92), (0.545,-3.235,2.615,-2.885), (0.545,-3.235,1.075,-2.06), (4.86,-3.235,6.5,-2.885), (0.29,-2.66,0.59,-2.41), (1.34,-2.66,1.72,-1.96), (0.015,-2.41,1.075,-2.06), (1.17,-0.75,1.73,-0.05), (2.86,0.2,3.25,0.9), (-0.125,0.535,0.085,0.735), (-0.125,0.65,1.66,0.9), (1.43,0.65,1.66,1.96), (4.345,0.66,7.05,0.9), (4.345,0.9,4.585,3.06), (-2.57,1.685,-1.76,1.985), (0.55,1.76,0.75,3.058), (1.66,1.76,3.02,1.96), (0.55,2.86,4.535,3.06), (6.435,2.87,10.77,3.22), (-3.98,3.155,-1.905,3.505)])
R(d_flip_flop_reset, Metal2_pin, [(3.58,-6.03,3.71,-5.9), (10.93,-4.58,11.06,-4.45), (8.1,1.77,8.23,1.9)])
R(d_flip_flop_reset, Metal3, [(6.215,-6.185,6.5,-2.96), (-4.085,-5.99,-3.675,3.04), (-2.4,-5.14,-1.99,1.805), (2.73,-4.015,2.93,0.215), (7.955,-3.58,8.365,1.96), (10.57,-3.23,10.77,3.22), (-0.93,-3.115,-0.6,1.96), (1.34,-2.31,1.54,-0.74), (7.39,1.76,7.63,1.96), (7.6,1.76,7.92,1.96)])
R(d_flip_flop_reset, Metal3_pin, [(-2.31,-4.08,-2.18,-3.95), (-4,-3.09,-3.87,-2.96)])
d_flip_flop_reset.add(gdstk.Reference(ptap1_7, (0.53,-1.73)))
d_flip_flop_reset.add(gdstk.Reference(ptap1_7, (3.93,-1.73)))
d_flip_flop_reset.add(gdstk.Reference(ntap1_2_2, (0.52,4.81)))
d_flip_flop_reset.add(gdstk.Reference(ntap1_2_2, (0.52,-8.27)))
d_flip_flop_reset.add(gdstk.Reference(ntap1_10, (4.93,-8.27)))
d_flip_flop_reset.add(gdstk.Reference(ntap1_4_2, (3.84,4.81)))
d_flip_flop_reset.add(gdstk.Reference(ntap1_2_2, (-3.9,-8.27)))
d_flip_flop_reset.add(gdstk.Reference(via_13, (-0.825,-3.025)))
d_flip_flop_reset.add(gdstk.Reference(via_13, (2.98,-4.02)))
d_flip_flop_reset.add(gdstk.Reference(via_13, (2.83,0.55), rotation=pi/2))
d_flip_flop_reset.add(gdstk.Reference(via_13, (6.15,-3.06)))
d_flip_flop_reset.add(gdstk.Reference(via_13, (6.56,-6.015)))
d_flip_flop_reset.add(gdstk.Reference(via_1_7, (-3.88,-5.88)))
d_flip_flop_reset.add(gdstk.Reference(via_1_7, (-3.88,3.24)))
d_flip_flop_reset.add(gdstk.Reference(via_13, (-2.22,1.81)))
d_flip_flop_reset.add(gdstk.Reference(via_9_2, (10.66,2.87)))
d_flip_flop_reset.add(gdstk.Reference(via_13, (8.075,1.86)))
d_flip_flop_reset.add(gdstk.Reference(via_13, (7.95,-3.23), rotation=3*pi/2))
d_flip_flop_reset.add(gdstk.Reference(nand_3in_x3_2, (-1.31,-5.68), x_reflection=True))
d_flip_flop_reset.add(gdstk.Reference(nand_3in_x3_2, (3.79,-5.68), x_reflection=True))
d_flip_flop_reset.add(gdstk.Reference(nand_3in_x3_2, (9.23,-5.68), x_reflection=True))
d_flip_flop_reset.add(gdstk.Reference(nand_3in_x3_2, (-1.31,3)))
d_flip_flop_reset.add(gdstk.Reference(via_13, (-2.21,-5.04)))
d_flip_flop_reset.add(gdstk.Reference(via_8_2, (1.445,-2.31)))
d_flip_flop_reset.add(gdstk.Reference(via_8_2, (1.445,-0.4)))
d_flip_flop_reset.add(gdstk.Reference(via_9_2, (1.44,-2.31)))
d_flip_flop_reset.add(gdstk.Reference(via_9_2, (1.44,-0.4)))
d_flip_flop_reset.add(gdstk.Reference(nand_2in_x2_2, (5.79,3)))
d_flip_flop_reset.add(gdstk.Reference(nand_2in_x2_2, (2.05,3)))
d_flip_flop_reset.add(gdstk.Label('VP', (4.41,-7.9), layer=8, texttype=25))
d_flip_flop_reset.add(gdstk.Label('VP', (-0.71,5.2), layer=8, texttype=25))
d_flip_flop_reset.add(gdstk.Label('VP', (-0.065,-7.89), layer=8, texttype=25))
d_flip_flop_reset.add(gdstk.Label('GND', (0.255,-1.385), layer=8, texttype=25))
d_flip_flop_reset.add(gdstk.Label('q', (8.165,1.835), layer=10, texttype=25))
d_flip_flop_reset.add(gdstk.Label('d', (3.645,-5.965), layer=10, texttype=25))
d_flip_flop_reset.add(gdstk.Label('q_', (10.995,-4.515), layer=10, texttype=25))
d_flip_flop_reset.add(gdstk.Label('reset', (-2.245,-4.015), layer=30, texttype=25))
d_flip_flop_reset.add(gdstk.Label('clk', (-3.935,-3.025), layer=30, texttype=25))

via = lib.new_cell('Via')
R(via, Metal2, [(-0.1,-0.35,0.1,0.35)])
R(via, Via2, [(-0.095,-0.3,0.095,-0.11), (-0.095,0.11,0.095,0.3)])
R(via, Metal3, [(-0.1,-0.35,0.1,0.35)])

via_25 = lib.new_cell('Via$25')
R(via_25, Metal2, [(-0.35,-0.1,0.35,0.1)])
R(via_25, Via2, [(-0.3,-0.095,-0.11,0.095), (0.11,-0.095,0.3,0.095)])
R(via_25, Metal3, [(-0.35,-0.1,0.35,0.1)])

via_2 = lib.new_cell('Via$2')
R(via_2, Metal1, [(-0.105,-0.35,0.105,0.35)])
R(via_2, Metal2, [(-0.1,-0.35,0.1,0.35)])
R(via_2, Via1, [(-0.095,-0.3,0.095,-0.11), (-0.095,0.11,0.095,0.3)])

div_with_reset = lib.new_cell('div_with_reset')
R(div_with_reset, Metal1, [(11.74,-27.2,11.95,-21.97), (11.74,-19.64,11.95,-14.72), (11.74,-14.12,11.95,-8.89), (11.74,-6.56,11.95,-1.64)])
R(div_with_reset, Metal1_pin, [(11.525,-34.065,11.655,-33.935), (25.675,-27.455,25.805,-27.325), (11.365,-20.995,11.495,-20.865), (25.895,-14.505,26.025,-14.375), (10.905,-8.065,11.035,-7.935), (24.965,-1.325,25.095,-1.195), (10.835,5.145,10.965,5.275)])
A(div_with_reset, Metal2, 27.26, -30.8, 0.25, 0.2, 1, 3, 0, 13.08)
A(div_with_reset, Metal2, 8.21, -24.4, 3.8, 0.2, 1, 3, 0, 13.08)
R(div_with_reset, Metal2, [(-2.255,-34.07,13.33,-33.87), (4.44,-31.775,4.64,-31.51), (20.42,-31.775,20.62,-31.51), (20.42,-31.775,20.62,-31.51), (4.44,-31.71,7.3,-31.51), (7.3,-31.71,7.5,-31.17), (20.42,-31.71,23.28,-31.51), (20.42,-31.71,23.28,-31.51), (23.28,-31.71,23.48,-31.17), (23.28,-31.71,23.48,-31.17), (7.3,-31.37,10.93,-31.17), (23.28,-31.37,26.91,-31.17), (23.28,-31.37,26.91,-31.17), (10.57,-27.6,24.155,-27.4), (8.21,-24.4,12.01,-24.2), (11.74,-22.3,12.26,-21.6), (-4.08,-21.09,24.155,-20.83), (-4.085,-21.06,24.15,-20.86), (11.74,-20.32,12.26,-19.62), (4.44,-18.695,4.64,-18.43), (4.44,-18.695,4.64,-18.43), (20.42,-18.695,20.62,-18.43), (20.42,-18.695,20.62,-18.43), (4.44,-18.63,7.3,-18.43), (4.44,-18.63,7.3,-18.43), (7.3,-18.63,7.5,-18.09), (7.3,-18.63,7.5,-18.09), (20.42,-18.63,23.28,-18.43), (20.42,-18.63,23.28,-18.43), (23.28,-18.63,23.48,-18.09), (23.28,-18.63,23.48,-18.09), (7.3,-18.29,10.93,-18.09), (7.3,-18.29,10.93,-18.09), (23.28,-18.29,26.91,-18.09), (23.28,-18.29,26.91,-18.09), (10.57,-14.52,24.155,-14.32), (11.74,-9.22,12.26,-8.52), (-4.08,-8.01,24.155,-7.75), (11.74,-7.24,12.26,-6.54), (4.44,-5.615,4.64,-5.35), (20.42,-5.615,20.62,-5.35), (4.44,-5.55,7.3,-5.35), (7.3,-5.55,7.5,-5.01), (20.42,-5.55,23.28,-5.35), (23.28,-5.55,23.48,-5.01), (7.3,-5.21,10.93,-5.01), (23.28,-5.21,26.91,-5.01), (10.57,-1.44,24.15,-1.24), (-2.4,5.03,13.99,5.37)])
A(div_with_reset, Metal2_pin, 27.31, -30.78, 0.13, 0.13, 1, 3, 0, 13.1)
R(div_with_reset, Metal2_pin, [(23.93,-27.57,24.06,-27.44), (23.93,-14.48,24.06,-14.35), (23.955,-1.385,24.085,-1.255)])
A(div_with_reset, Metal3, 10.655, -28.87, 0.2, 1.47, 1, 3, 0, 13.08)
R(div_with_reset, Metal3, [(-2.4,-34.07,-1.99,-31.18), (13.58,-34.07,13.99,-31.05), (13.58,-27.49,13.99,-4.73), (-2.4,-25.43,-1.99,-4.65), (-4.085,-23.36,-3.675,-20.86), (11.75,-21.96,11.95,-20.02), (23.74,-21.05,24.15,-16.56), (-4.085,-10.28,-3.675,-7.78), (11.75,-8.88,11.95,-6.94), (23.935,-7.97,24.345,-3.48), (13.58,1.5,13.99,5.29), (-2.4,1.53,-1.99,5.3)])
R(div_with_reset, Metal3_pin, [(-3.955,-0.095,-3.825,0.035), (13.735,4.885,13.865,5.015)])
div_with_reset.add(gdstk.Reference(ntap1, (7.67,4.81)))
div_with_reset.add(gdstk.Reference(ntap1, (11.07,-8.27)))
div_with_reset.add(gdstk.Reference(ptap1, (11.08,-1.73)))
div_with_reset.add(gdstk.Reference(d_flip_flop_reset, (0,0)))
div_with_reset.add(gdstk.Reference(ntap1, (11.07,-21.35)))
div_with_reset.add(gdstk.Reference(ntap1, (11.07,-21.35)))
div_with_reset.add(gdstk.Reference(ntap1, (7.67,-8.27)))
div_with_reset.add(gdstk.Reference(ptap1, (11.08,-14.81)))
div_with_reset.add(gdstk.Reference(ntap1, (11.07,-21.35)))
div_with_reset.add(gdstk.Reference(ntap1, (11.07,-34.43)))
div_with_reset.add(gdstk.Reference(ntap1, (7.67,-21.35)))
div_with_reset.add(gdstk.Reference(ptap1, (11.08,-27.89)))
div_with_reset.add(gdstk.Reference(d_flip_flop_reset, (15.98,0)))
div_with_reset.add(gdstk.Reference(d_flip_flop_reset, (0,-13.08)))
div_with_reset.add(gdstk.Reference(via, (26.81,-5.36)))
div_with_reset.add(gdstk.Reference(via, (10.83,-5.36)))
div_with_reset.add(gdstk.Reference(via, (12.11,1.79)))
div_with_reset.add(gdstk.Reference(via, (12.11,-11.29)))
div_with_reset.add(gdstk.Reference(via, (12.11,-24.37)))
div_with_reset.add(gdstk.Reference(via_25, (23.94,-7.88)))
div_with_reset.add(gdstk.Reference(via_25, (-3.88,-7.88)))
div_with_reset.add(gdstk.Reference(d_flip_flop_reset, (15.98,-13.08)))
div_with_reset.add(gdstk.Reference(ptap1, (11.08,-14.81)))
div_with_reset.add(gdstk.Reference(ntap1, (7.67,-21.35)))
div_with_reset.add(gdstk.Reference(via, (26.81,-18.44)))
div_with_reset.add(gdstk.Reference(via, (10.83,-18.44)))
div_with_reset.add(gdstk.Reference(via, (12.11,-24.37)))
div_with_reset.add(gdstk.Reference(via_25, (23.94,-20.96)))
div_with_reset.add(gdstk.Reference(via_25, (-3.88,-20.96)))
div_with_reset.add(gdstk.Reference(via_25, (10.92,-1.34)))
div_with_reset.add(gdstk.Reference(ptap1, (11.08,-14.81)))
div_with_reset.add(gdstk.Reference(via_25, (10.92,-14.42)))
div_with_reset.add(gdstk.Reference(ptap1, (11.08,-27.89)))
div_with_reset.add(gdstk.Reference(via, (26.81,-31.52)))
div_with_reset.add(gdstk.Reference(via, (10.83,-31.52)))
div_with_reset.add(gdstk.Reference(via_25, (10.92,-27.5)))
div_with_reset.add(gdstk.Reference(via_25, (-2.05,5.19)))
div_with_reset.add(gdstk.Reference(via_25, (13.64,5.19)))
div_with_reset.add(gdstk.Reference(via_25, (-2.05,-33.97)))
div_with_reset.add(gdstk.Reference(via_25, (13.64,-33.97)))
div_with_reset.add(gdstk.Reference(d_flip_flop_reset, (0,-26.16)))
div_with_reset.add(gdstk.Reference(d_flip_flop_reset, (15.98,-26.16)))
div_with_reset.add(gdstk.Reference(via_2, (11.845,-21.95)))
div_with_reset.add(gdstk.Reference(via_2, (11.845,-19.97)))
div_with_reset.add(gdstk.Reference(via_25, (11.85,-21.96), rotation=pi/2))
div_with_reset.add(gdstk.Reference(via_25, (11.85,-19.97), rotation=pi/2))
div_with_reset.add(gdstk.Reference(via, (12.11,-11.29)))
div_with_reset.add(gdstk.Reference(via, (12.11,-11.29)))
div_with_reset.add(gdstk.Reference(via_2, (11.845,-8.87)))
div_with_reset.add(gdstk.Reference(via_2, (11.845,-6.89)))
div_with_reset.add(gdstk.Reference(via_25, (11.85,-8.88), rotation=pi/2))
div_with_reset.add(gdstk.Reference(via_25, (11.85,-6.89), rotation=pi/2))
div_with_reset.add(gdstk.Label('gd', (25.03,-1.26), layer=8, texttype=25))
div_with_reset.add(gdstk.Label('gd', (25.96,-14.44), layer=8, texttype=25))
div_with_reset.add(gdstk.Label('gd', (25.74,-27.39), layer=8, texttype=25))
div_with_reset.add(gdstk.Label('vp', (10.9,5.21), layer=8, texttype=25))
div_with_reset.add(gdstk.Label('vp', (10.97,-8), layer=8, texttype=25))
div_with_reset.add(gdstk.Label('vp', (11.43,-20.93), layer=8, texttype=25))
div_with_reset.add(gdstk.Label('vp', (11.43,-7.85), layer=8, texttype=25))
div_with_reset.add(gdstk.Label('vp', (11.59,-34), layer=8, texttype=25))
div_with_reset.add(gdstk.Label('r_div2', (24.02,-1.32), layer=10, texttype=25))
div_with_reset.add(gdstk.Label('r_div4', (27.375,-4.515), layer=10, texttype=25))
div_with_reset.add(gdstk.Label('r_div8', (23.995,-14.415), layer=10, texttype=25))
div_with_reset.add(gdstk.Label('r_div16', (27.375,-17.615), layer=10, texttype=25))
div_with_reset.add(gdstk.Label('r_div32', (23.995,-27.505), layer=10, texttype=25))
div_with_reset.add(gdstk.Label('r_div64', (27.375,-30.715), layer=10, texttype=25))
div_with_reset.add(gdstk.Label('in', (-3.89,-0.03), layer=30, texttype=25))
div_with_reset.add(gdstk.Label('reset', (13.8,4.95), layer=30, texttype=25))

lib.write_gds('div_with_reset.gds')
